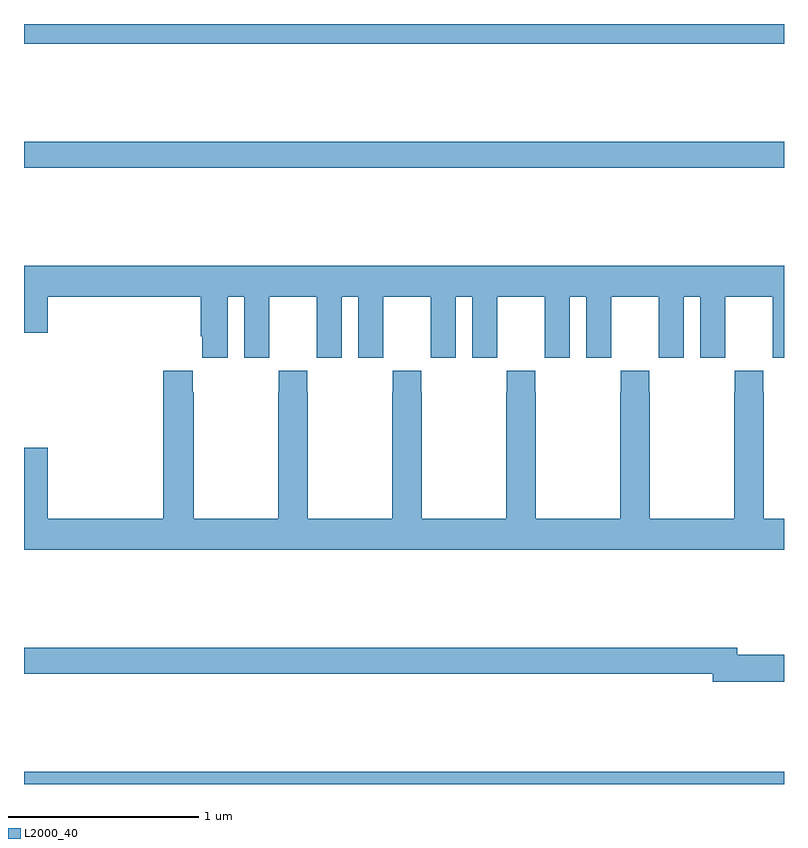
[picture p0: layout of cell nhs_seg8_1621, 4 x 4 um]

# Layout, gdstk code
import gdstk
lib = gdstk.Library(unit=1e-6, precision=1e-09)
def R(c, l, rs):  # rectangles x0, y0, x1, y1
    for r in rs: c.add(gdstk.rectangle(r[:2], r[2:], *l))
def P(c, l, *ps):  # polygons
    for p in ps: c.add(gdstk.Polygon(p, *l))
L2000_40 = (2000, 40)

nhs_seg8_1621 = lib.new_cell('nhs_seg8_1621')
R(nhs_seg8_1621, L2000_40, [(213,1149.9,217,1149.964), (213,1153.144,217,1153.28), (213,1153.796,217,1153.9)])
P(nhs_seg8_1621, L2000_40, [(214.072,1152.464),(214.16,1152.464),(214.16,1152.144),(214.29,1152.144),(214.29,1152.256),(214.291,1152.256),(214.291,1152.464),(214.541,1152.464),(214.541,1152.256),(214.542,1152.256),(214.542,1152.144),(214.672,1152.144),(214.672,1152.464),(214.76,1152.464),(214.76,1152.144),(214.89,1152.144),(214.89,1152.256),(214.891,1152.256),(214.891,1152.464),(215.141,1152.464),(215.141,1152.256),(215.142,1152.256),(215.142,1152.144),(215.272,1152.144),(215.272,1152.464),(215.36,1152.464),(215.36,1152.144),(215.49,1152.144),(215.49,1152.256),(215.491,1152.256),(215.491,1152.464),(215.741,1152.464),(215.741,1152.256),(215.742,1152.256),(215.742,1152.144),(215.872,1152.144),(215.872,1152.464),(215.96,1152.464),(215.96,1152.144),(216.09,1152.144),(216.09,1152.256),(216.091,1152.256),(216.091,1152.464),(216.341,1152.464),(216.341,1152.256),(216.342,1152.256),(216.342,1152.144),(216.472,1152.144),(216.472,1152.464),(216.56,1152.464),(216.56,1152.144),(216.69,1152.144),(216.69,1152.256),(216.691,1152.256),(216.691,1152.464),(216.941,1152.464),(216.941,1152.256),(216.942,1152.256),(216.942,1152.144),(217,1152.144),(217,1152.628),(213,1152.628),(213,1152.276),(213.124,1152.276),(213.124,1152.464),(213.929,1152.464),(213.929,1152.256),(213.938,1152.256),(213.938,1152.144),(214.072,1152.144)],
  [(217,1151.296),(216.894,1151.296),(216.894,1151.963),(216.891,1151.963),(216.891,1152.076),(216.741,1152.076),(216.741,1151.963),(216.739,1151.963),(216.739,1151.296),(216.294,1151.296),(216.294,1151.963),(216.291,1151.963),(216.291,1152.076),(216.141,1152.076),(216.141,1151.963),(216.139,1151.963),(216.139,1151.296),(215.694,1151.296),(215.694,1151.963),(215.691,1151.963),(215.691,1152.076),(215.541,1152.076),(215.541,1151.963),(215.539,1151.963),(215.539,1151.296),(215.094,1151.296),(215.094,1151.963),(215.091,1151.963),(215.091,1152.076),(214.941,1152.076),(214.941,1151.963),(214.939,1151.963),(214.939,1151.296),(214.494,1151.296),(214.494,1151.963),(214.491,1151.963),(214.491,1152.076),(214.341,1152.076),(214.341,1151.963),(214.339,1151.963),(214.339,1151.296),(213.894,1151.296),(213.894,1151.963),(213.887,1151.963),(213.887,1152.076),(213.734,1152.076),(213.734,1151.296),(213.124,1151.296),(213.124,1151.671),(213,1151.671),(213,1151.132),(217,1151.132)],
  [(217,1150.58),(216.754,1150.58),(216.754,1150.616),(213,1150.616),(213,1150.48),(216.626,1150.48),(216.626,1150.438),(217,1150.438)])

lib.write_gds('nhs_seg8_1621.gds')
